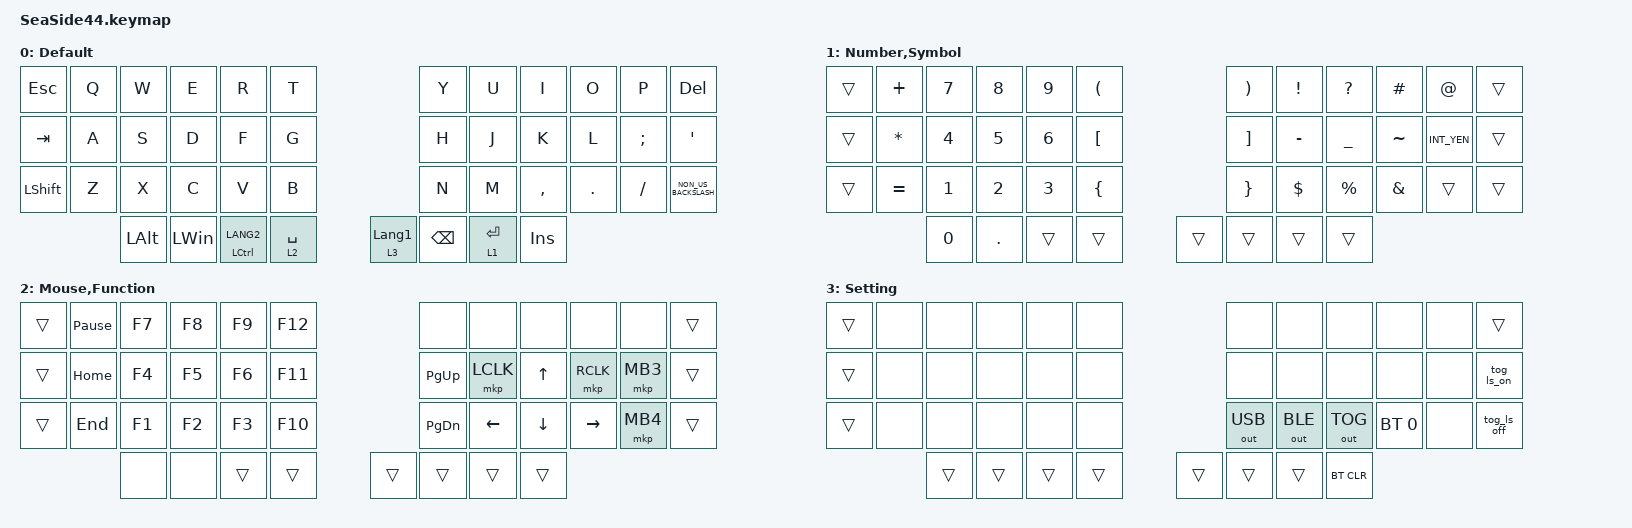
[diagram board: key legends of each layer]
#include <behaviors.dtsi>
#include <dt-bindings/zmk/bt.h>
#include <dt-bindings/zmk/keys.h>
#include <dt-bindings/zmk/pointing.h>
#include <layout_shift.dtsi>
#include <dt-bindings/zmk/outputs.h>
#include <dt-bindings/zmk/bt.h>

#define MOUSE 4
#define SCROLL 3
#define NUM 6

&mt {
    flavor = "balanced";
    quick-tap-ms = <300>;
};

&lt {
    flavor = "balanced";
    quick-tap-ms = <300>;
};

/ {
    combos { compatible = "zmk,combos"; };

    macros {
        to_layer_0: to_layer_0 {
            compatible = "zmk,behavior-macro-one-param";
            #binding-cells = <1>;
            bindings = <&to 0 &macro_param_1to1 &kp MACRO_PLACEHOLDER>;
            label = "TO_LAYER_0";
        };
    };

    behaviors {
        original_key_press: original_key_press {
            compatible = "zmk,behavior-key-press";
            #binding-cells = <1>;
            label = "KEY_PRESS";
        };

        kp: key_press {
            compatible = "zmk,behavior-layout-shift-key-press";
            #binding-cells = <1>;
            label = "LAYOUT_SHIFT_KEY_PRESS";
        };

        lt_to_layer_0: lt_to_layer_0 {
            compatible = "zmk,behavior-hold-tap";
            label = "LAYER_TAP_TO_0";
            bindings = <&mo>, <&to_layer_0>;

            #binding-cells = <2>;
            tapping-term-ms = <200>;
        };

        st: scroll_tap {
            compatible = "zmk,behavior-hold-tap";
            label = "Scroll / Tap";
            bindings = <&mo>, <&kp>;

            #binding-cells = <2>;
            tapping-term-ms = <200>;
            flavor = "balanced";
            hold-while-undecided;
        };
    };

    keymap {
        compatible = "zmk,keymap";

        Default {
            bindings = <
&kp ESCAPE  &kp Q  &kp W         &kp E         &kp R                   &kp T                                           &kp Y        &kp U  &kp I      &kp O       &kp P          &kp DEL
&kp TAB     &kp A  &kp S         &kp D         &kp F                   &kp G                                           &kp H        &kp J  &kp K      &kp L       &kp SEMICOLON  &kp SQT
&kp LSHFT   &kp Z  &kp X         &kp C         &kp V                   &kp B                                           &kp N        &kp M  &kp COMMA  &kp PERIOD  &kp SLASH      &kp NON_US_BACKSLASH
                   &kp LEFT_ALT  &kp LEFT_WIN  &mt LEFT_CONTROL LANG2  &lt 2 SPACE  &st 3 LANGUAGE_1    &kp BACKSPACE  &lt 1 ENTER         &kp INS
            >;
        };

        Number,Symbol {
            bindings = <
&trans  &kp PLUS      &kp N7        &kp N8        &kp N9        &kp LEFT_PARENTHESIS                    &kp RIGHT_PARENTHESIS  &kp EXCLAMATION  &kp QUESTION  &kp HASH       &kp AT_SIGN  &trans
&trans  &kp ASTERISK  &kp NUMBER_4  &kp N5        &kp NUMBER_6  &kp LEFT_BRACKET                        &kp RIGHT_BRACKET      &kp MINUS        &kp UNDER     &kp TILDE      &kp INT_YEN  &trans
&trans  &kp EQUAL     &kp NUMBER_1  &kp NUMBER_2  &kp NUMBER_3  &kp LEFT_BRACE                          &kp RIGHT_BRACE        &kp DOLLAR       &kp PERCENT   &kp AMPERSAND  &trans       &trans
                      &kp N0        &kp PERIOD    &trans        &trans                &trans    &trans  &trans                                  &trans
            >;
        };

        Mouse,Function {
            bindings = <
&trans  &kp PAUSE_BREAK  &kp F7  &kp F8  &kp F9  &kp F12                    &none          &none           &none           &none            &none     &trans
&trans  &kp HOME         &kp F4  &kp F5  &kp F6  &kp F11                    &kp PAGE_UP    &mkp LCLK       &kp UP_ARROW    &mkp RCLK        &mkp MB3  &trans
&trans  &kp END          &kp F1  &kp F2  &kp F3  &kp F10                    &kp PAGE_DOWN  &kp LEFT_ARROW  &kp DOWN_ARROW  &kp RIGHT_ARROW  &mkp MB4  &trans
                         &none   &none   &trans  &trans   &trans    &trans  &trans                         &trans
            >;
        };

        Setting {
            bindings = <
&trans  &none  &none   &none   &none   &none                     &none          &none         &none           &none         &none       &trans
&trans  &none  &none   &none   &none   &none                     &none          &none         &none           &none         &none       &tog_ls_on
&trans  &none  &none   &none   &none   &none                     &out OUT_USB   &out OUT_BLE  &out OUT_TOG    &bt BT_SEL 0  &none       &tog_ls_off
               &trans  &trans  &trans  &trans  &trans            &trans         &trans                                      &bt BT_CLR
            >;
        };
    };
};
